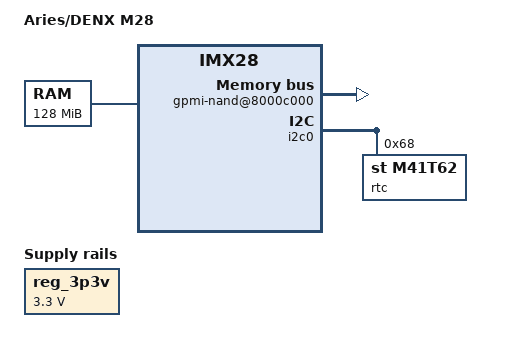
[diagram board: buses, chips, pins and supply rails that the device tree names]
/*
 * Copyright (C) 2014 Marek Vasut <marex@denx.de>
 *
 * The code contained herein is licensed under the GNU General Public
 * License. You may obtain a copy of the GNU General Public License
 * Version 2 or later at the following locations:
 *
 * http://www.opensource.org/licenses/gpl-license.html
 * http://www.gnu.org/copyleft/gpl.html
 */

#include "imx28.dtsi"

/ {
	model = "Aries/DENX M28";
	compatible = "aries,m28", "denx,m28", "fsl,imx28";

	memory@40000000 {
		reg = <0x40000000 0x08000000>;
	};

	apb@80000000 {
		apbh@80000000 {
			gpmi-nand@8000c000 {
				#address-cells = <1>;
				#size-cells = <1>;
				pinctrl-names = "default";
				pinctrl-0 = <&gpmi_pins_a &gpmi_status_cfg>;
				status = "okay";
			};
		};

		apbx@80040000 {
			i2c0: i2c@80058000 {
				pinctrl-names = "default";
				pinctrl-0 = <&i2c0_pins_a>;
				status = "okay";

				rtc: rtc@68 {
					compatible = "st,m41t62";
					reg = <0x68>;
				};
			};
		};
	};

	regulators {
		compatible = "simple-bus";
		#address-cells = <1>;
		#size-cells = <0>;

		reg_3p3v: regulator@0 {
			compatible = "regulator-fixed";
			reg = <0>;
			regulator-name = "3P3V";
			regulator-min-microvolt = <3300000>;
			regulator-max-microvolt = <3300000>;
			regulator-always-on;
		};
	};
};
